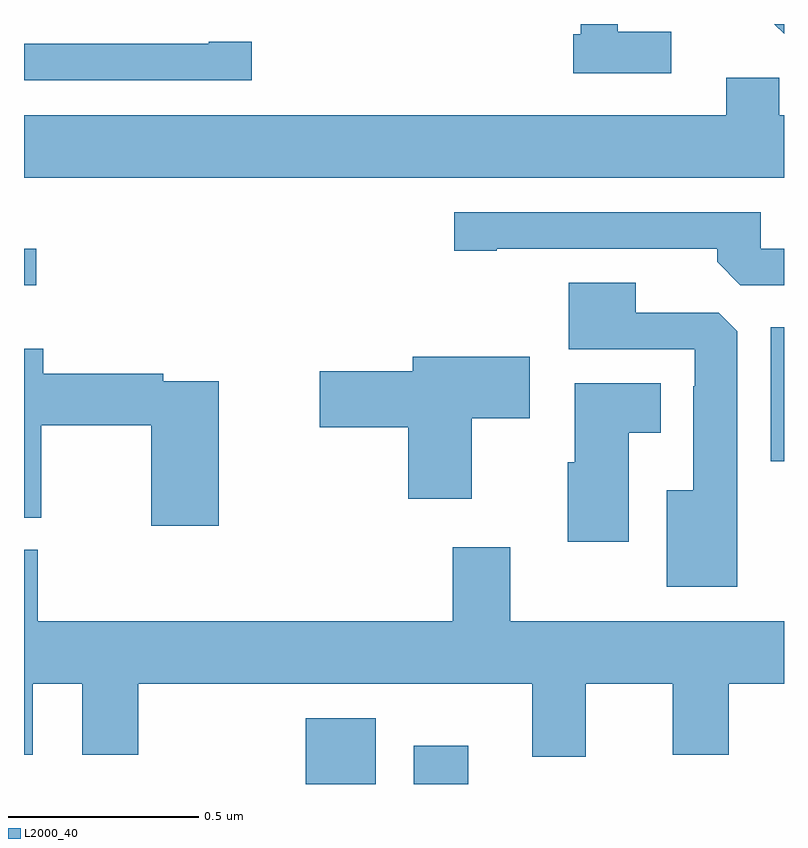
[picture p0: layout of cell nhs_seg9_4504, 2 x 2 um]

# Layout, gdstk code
import gdstk
lib = gdstk.Library(unit=1e-6, precision=1e-09)
def R(c, l, rs):  # rectangles x0, y0, x1, y1
    for r in rs: c.add(gdstk.rectangle(r[:2], r[2:], *l))
def P(c, l, *ps):  # polygons
    for p in ps: c.add(gdstk.Polygon(p, *l))
L2000_40 = (2000, 40)

nhs_seg9_4504 = lib.new_cell('nhs_seg9_4504')
R(nhs_seg9_4504, L2000_40, [(167.741,1185.5,167.926,1185.673), (168.026,1185.5,168.169,1185.601), (168.965,1186.349,169,1186.702), (167,1186.812,167.032,1186.908)])
P(nhs_seg9_4504, L2000_40, [(168.703,1187.479),(168.563,1187.479),(168.563,1187.5),(168.465,1187.5),(168.465,1187.473),(168.445,1187.473),(168.445,1187.37),(168.703,1187.37)],
  [(169,1187.5),(168.974,1187.5),(169,1187.474)],
  [(167.599,1187.453),(167.486,1187.453),(167.486,1187.448),(167,1187.448),(167,1187.352),(167.599,1187.352)],
  [(169,1187.26),(168.987,1187.26),(168.987,1187.358),(168.848,1187.358),(168.848,1187.26),(167,1187.26),(167,1187.096),(169,1187.096)],
  [(169,1186.908),(168.939,1186.908),(168.939,1187.004),(168.132,1187.004),(168.132,1186.903),(168.244,1186.903),(168.244,1186.908),(168.824,1186.908),(168.824,1186.874),(168.885,1186.812),(169,1186.812)],
  [(168.877,1186.691),(168.828,1186.74),(168.61,1186.74),(168.61,1186.819),(168.434,1186.819),(168.434,1186.644),(168.765,1186.644),(168.765,1186.547),(168.761,1186.547),(168.761,1186.273),(168.692,1186.273),(168.692,1186.019),(168.877,1186.019)],
  [(167.513,1186.56),(167.366,1186.56),(167.366,1186.58),(167.051,1186.58),(167.051,1186.645),(167,1186.645),(167,1186.201),(167.046,1186.201),(167.046,1186.444),(167.335,1186.444),(167.335,1186.179),(167.513,1186.179)],
  [(168.178,1186.462),(168.331,1186.462),(168.331,1186.624),(168.023,1186.624),(168.023,1186.586),(167.778,1186.586),(167.778,1186.439),(168.011,1186.439),(168.011,1186.251),(168.178,1186.251)],
  [(168.592,1186.424),(168.676,1186.424),(168.676,1186.555),(168.449,1186.555),(168.449,1186.347),(168.431,1186.347),(168.431,1186.137),(168.592,1186.137)],
  [(168.478,1185.764),(168.707,1185.764),(168.707,1185.577),(168.855,1185.577),(168.855,1185.764),(169,1185.764),(169,1185.928),(168.28,1185.928),(168.28,1186.123),(168.128,1186.123),(168.128,1185.928),(167.036,1185.928),(167.036,1186.116),(167,1186.116),(167,1185.577),(167.023,1185.577),(167.023,1185.764),(167.153,1185.764),(167.153,1185.577),(167.301,1185.577),(167.301,1185.764),(168.338,1185.764),(168.338,1185.572),(168.478,1185.572)])

lib.write_gds('nhs_seg9_4504.gds')
